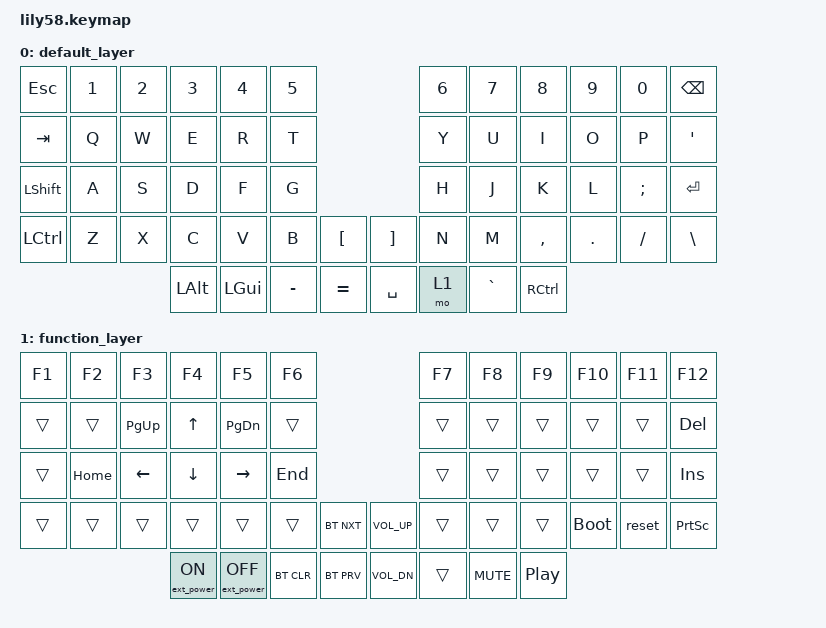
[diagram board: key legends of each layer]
/*
 * Copyright (c) 2020 The ZMK Contributors
 *
 * SPDX-License-Identifier: MIT
 */

#include <behaviors.dtsi>
#include <dt-bindings/zmk/keys.h>
#include <dt-bindings/zmk/bt.h>
#include <dt-bindings/zmk/ext_power.h>

&led_strip {
    chain-length = <1>;
};

/ {
	keymap {
		compatible = "zmk,keymap";

		default_layer {
			bindings = <
&kp ESC   &kp N1 &kp N2 &kp N3   &kp N4   &kp N5                          &kp N6 &kp N7    &kp N8    &kp N9  &kp N0   &kp BSPC
&kp TAB   &kp Q  &kp W  &kp E    &kp R    &kp T                           &kp Y  &kp U     &kp I     &kp O   &kp P    &kp SQT
&kp LSHFT &kp A  &kp S  &kp D    &kp F    &kp G                           &kp H  &kp J     &kp K     &kp L   &kp SEMI &kp RET
&kp LCTRL &kp Z  &kp X  &kp C    &kp V    &kp B     &kp LBKT   &kp RBKT   &kp N  &kp M     &kp COMMA &kp DOT &kp FSLH &kp BSLH
                        &kp LALT &kp LGUI &kp MINUS &kp EQUAL  &kp SPACE  &mo 1  &kp GRAVE &kp RCTRL
			>;
		};

		function_layer {
			bindings = <
&kp F1 &kp F2   &kp F3    &kp F4   &kp F5    &kp F6                                               &kp F7 &kp F8     &kp F9           &kp F10     &kp F11 &kp F12
&trans &trans   &kp PG_UP &kp UP   &kp PG_DN &trans                                               &trans &trans     &trans           &trans      &trans  &kp DEL
&trans &kp HOME &kp LEFT  &kp DOWN &kp RIGHT &kp END                                              &trans &trans     &trans           &trans      &trans  &kp INSERT
&trans &trans   &trans    &trans             &trans            &trans     &bt BT_NXT &kp C_VOL_UP &trans &trans     &trans           &bootloader &reset  &kp PSCRN
                          &ext_power EP_ON   &ext_power EP_OFF &bt BT_CLR &bt BT_PRV &kp C_VOL_DN &trans &kp C_MUTE &kp C_PLAY_PAUSE
			>;
		};
	};
};
